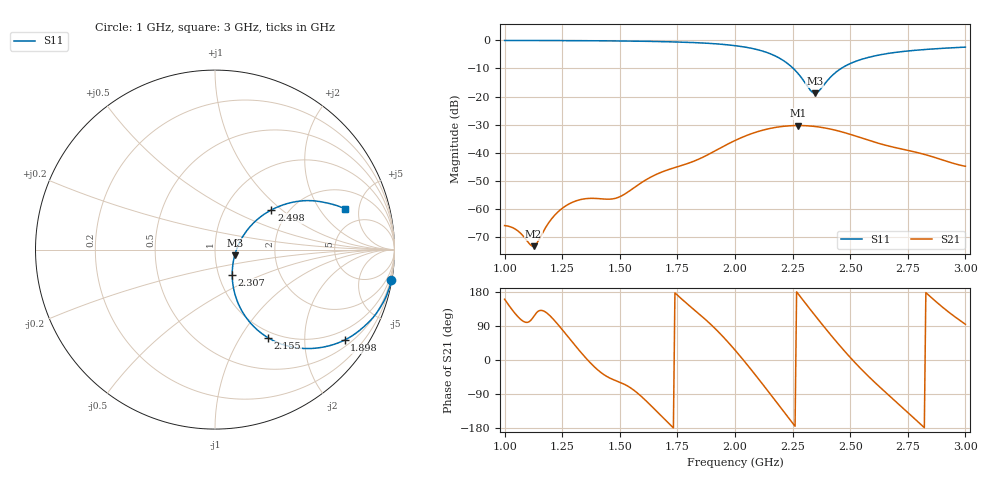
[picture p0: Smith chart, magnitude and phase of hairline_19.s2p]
! TOUCHSTONE file generated by CST MICROWAVE STUDIO
! Date and time: Tue Mar 18 20:31:43 2025
! Project name: hairline.cst
! Parameters = {B=12.5; D=160; F=25; Feed=2.85625; Fracture=0.5; L=100; M=30; R=0.384908; S=1.5; Theta=90; length=57.125; wave=114.25}
! Header version: 2024
! Port assignment regex: !\s*Touchstone port\s*([0-9]+)\s*=\s*(CST MWS port|CST DES external port|CST DES block port)\s*(.+)\s* \(\"(.*)\"\)(\s*mode\s*([0-9]+))?.*
! Touchstone port assignment:
! Touchstone port 1 = CST MWS port 1 ("")
! Touchstone port 2 = CST MWS port 2 ("")
# GHz S DB R 50
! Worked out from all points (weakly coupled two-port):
!   304 points, 1 GHz to 3 GHz, reference 50 ohm
!   highest |S21| = -30.32 dB at 2.274 GHz (marker M1); lowest = -73.3 dB at 1.125 GHz (marker M2)
!   lowest |S11| = -18.8 dB at 2.347 GHz (marker M3), VSWR 1.26, Z = 62.2 - j3.89 ohm
!   |S11| at or under -10 dB: 2.253 GHz to 2.461 GHz (207.5 MHz wide, 8.8 % of centre)
!   S12 and S22 are empty: the file has one direction only
!   S11 on the Smith chart (normalised r, x): 1 GHz: 0, -12; 1.898 GHz: 0.68, -3.04; 2.155 GHz: 0.91, -1.33; 2.307 GHz: 1.16, -0.33; 2.498 GHz: 1.64, +0.85; 3 GHz: 3.33, +3.56
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1  -0.02 -9.8  -65.95 160.4  -200.00 0.0  -200.00 0.0
1.05281  -0.03 -10.5  -67.57 117.6  -200.00 0.0  -200.00 0.0
1.12541  -0.03 -11.5  -73.30 114.0  -200.00 0.0  -200.00 0.0
1.13861  -0.04 -11.8  -72.38 124.8  -200.00 0.0  -200.00 0.0
1.19142  -0.05 -12.6  -64.95 119.9  -200.00 0.0  -200.00 0.0
1.23102  -0.06 -13.3  -61.14 94.1  -200.00 0.0  -200.00 0.0
1.28383  -0.08 -14.2  -58.07 54.9  -200.00 0.0  -200.00 0.0
1.33663  -0.10 -15.2  -56.57 16.2  -200.00 0.0  -200.00 0.0
1.48845  -0.19 -18.6  -56.07 -55.8  -200.00 0.0  -200.00 0.0
1.66667  -0.40 -24.0  -47.42 -139.5  -200.00 0.0  -200.00 0.0
1.89769  -1.11 -34.9  -40.05 92.4  -200.00 0.0  -200.00 0.0
2.0033  -1.91 -42.8  -35.53 23.9  -200.00 0.0  -200.00 0.0
2.15512  -4.83 -58.9  -31.31 -91.4  -200.00 0.0  -200.00 0.0
2.22112  -7.80 -65.6  -30.51 -143.6  -200.00 0.0  -200.00 0.0
2.27393  -11.82 -65.3  -30.32 174.6  -200.00 0.0  -200.00 0.0
2.30693  -15.44 -55.5  -30.38 148.7  -200.00 0.0  -200.00 0.0
2.33993  -18.69 -24.5  -30.60 123.1  -200.00 0.0  -200.00 0.0
2.34653  -18.83 -15.6  -30.66 118.1  -200.00 0.0  -200.00 0.0
2.43234  -11.73 34.6  -31.92 53.9  -200.00 0.0  -200.00 0.0
2.49835  -8.31 35.1  -33.42 7.9  -200.00 0.0  -200.00 0.0
2.66997  -4.58 27.5  -37.69 -94.3  -200.00 0.0  -200.00 0.0
3  -2.40 17.4  -44.85 94.3  -200.00 0.0  -200.00 0.0
